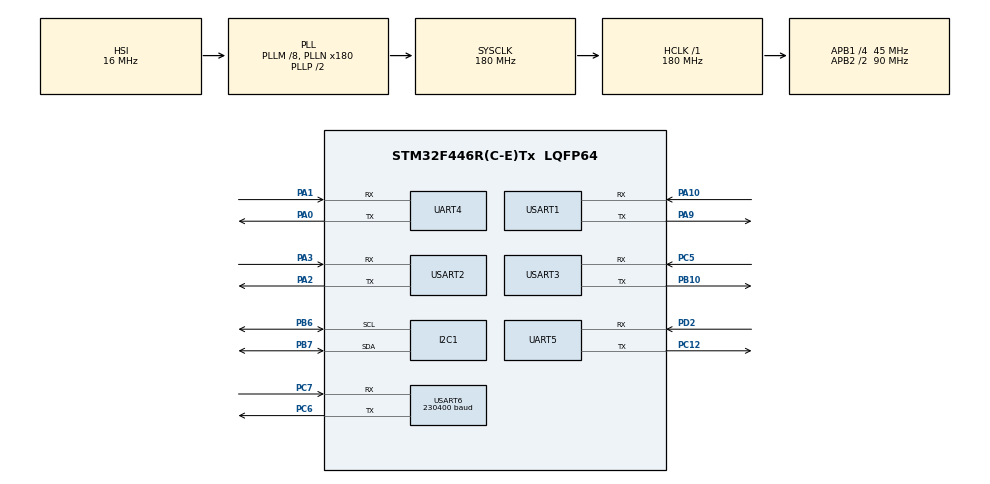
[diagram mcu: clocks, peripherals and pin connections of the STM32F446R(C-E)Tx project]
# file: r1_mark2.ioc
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I2C1.I2C_Mode=I2C_Fast
Mcu.Family=STM32F4
Mcu.Name=STM32F446R(C-E)Tx
Mcu.Package=LQFP64
NVIC.PriorityGroup=NVIC_PRIORITYGROUP_4
NVIC.USART3_IRQn=true\:0\:0\:false\:false\:true\:true\:true\:true
PA0-WKUP.Mode=Asynchronous
PA0-WKUP.Signal=UART4_TX
PA1.Mode=Asynchronous
PA1.Signal=UART4_RX
PA10.Mode=Asynchronous
PA10.Signal=USART1_RX
PA2.Mode=Asynchronous
PA2.Signal=USART2_TX
PA3.Mode=Asynchronous
PA3.Signal=USART2_RX
PA9.Mode=Asynchronous
PA9.Signal=USART1_TX
PB10.Mode=Asynchronous
PB10.Signal=USART3_TX
PB6.Mode=I2C
PB6.Signal=I2C1_SCL
PB7.Mode=I2C
PB7.Signal=I2C1_SDA
PC12.Mode=Asynchronous
PC12.Signal=UART5_TX
PC5.Mode=Asynchronous
PC5.Signal=USART3_RX
PC6.Mode=Asynchronous
PC6.Signal=USART6_TX
PC7.Mode=Asynchronous
PC7.Signal=USART6_RX
PD2.Mode=Asynchronous
PD2.Signal=UART5_RX
ProjectManager.HeapSize=0x200
ProjectManager.StackSize=0x400
ProjectManager.TargetToolchain=STM32CubeIDE
RCC.AHBFreq_Value=180000000
RCC.APB1CLKDivider=RCC_HCLK_DIV4
RCC.APB1Freq_Value=45000000
RCC.APB1TimFreq_Value=90000000
RCC.APB2CLKDivider=RCC_HCLK_DIV2
RCC.APB2Freq_Value=90000000
RCC.APB2TimFreq_Value=180000000
RCC.CortexFreq_Value=180000000
RCC.HCLKFreq_Value=180000000
RCC.PLLM=8
RCC.PLLN=180
RCC.SYSCLKFreq_VALUE=180000000
RCC.SYSCLKSource=RCC_SYSCLKSOURCE_PLLCLK
RCC.USBFreq_Value=180000000
RCC.VCOOutputFreq_Value=360000000
UART4.VirtualMode=Asynchronous
UART5.VirtualMode=Asynchronous
USART1.VirtualMode=VM_ASYNC
USART2.VirtualMode=VM_ASYNC
USART3.VirtualMode=VM_ASYNC
USART6.BaudRate=230400
USART6.VirtualMode=VM_ASYNC
board=custom

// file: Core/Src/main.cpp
/* USER CODE BEGIN Header */
/**
 ******************************************************************************
 * @file           : main.c
 * @brief          : Main program body
 ******************************************************************************
 * @attention
 *
 * Copyright (c) 2026 STMicroelectronics.
 * All rights reserved.
 *
 * This software is licensed under terms that can be found in the LICENSE file
 * in the root directory of this software component.
 * If no LICENSE file comes with this software, it is provided AS-IS.
 *
 ******************************************************************************
 */
/* USER CODE END Header */
#include "main.h"

/* USER CODE BEGIN Includes */
#include "stm32roboclaw.h"
#include "bno055_stm32.h"
#include<stdbool.h>
#include<stdio.h>
#include<string.h>
#include<math.h>
#include "hrishikesh.h"
/* USER CODE END Includes */

I2C_HandleTypeDef hi2c1;

UART_HandleTypeDef huart4;
UART_HandleTypeDef huart5;
UART_HandleTypeDef huart1;
UART_HandleTypeDef huart2;
UART_HandleTypeDef huart3;
UART_HandleTypeDef huart6;

void SystemClock_Config(void);
static void MX_GPIO_Init(void);
static void MX_I2C1_Init(void);
static void MX_UART4_Init(void);
static void MX_UART5_Init(void);
static void MX_USART1_UART_Init(void);
static void MX_USART2_UART_Init(void);
static void MX_USART3_UART_Init(void);
static void MX_USART6_UART_Init(void);

/* USER CODE BEGIN 0 */
int target=0;
float error= 0;
float preverror=0;
float P=9;
float I=0.0005;
float D=360;
float intg;

int16_t vFL, vFR, vBL, vBR;
int16_t vMAX = 0;
int16_t maxspeed = 32767;

int16_t PID(float angz){
	error=target-angz;
	intg += error*I;
	int16_t output = (error*P)+intg+((error-preverror)*D);
	if(output>100) output = 100;
	if(output<-100) output = -100;
	preverror=error;
	return output;
}

//long map(long x, long in_min, long in_max, long out_min, long out_max)
//{
//	return (x - in_min) * (out_max - out_min) / (in_max - in_min) + out_min;
//}

uint8_t rx_byte;
volatile uint8_t rx_count=0;
volatile bool ready= false;
volatile uint8_t idx=0;
uint8_t packet_buffer[11];

//data
int8_t LX;
int8_t LY;
int8_t RX;
int8_t RY;
uint8_t L2,R2;
uint16_t buttons;
uint16_t prev_buttons;
int mode=0,sign=0;

#define EVENT_QUEUE_SIZE 8
volatile uint16_t event_queue[8];
volatile uint8_t event_head =0;
volatile uint8_t event_tail =0;
volatile uint16_t prev_buttons_isr = 0;

#define NUM_BUTTONS 10
volatile uint8_t butt[NUM_BUTTONS] = {0};

static inline void enqueue_button_event(uint16_t pressed)
{
	uint8_t next = (event_head + 1) % EVENT_QUEUE_SIZE;

	if (next != event_tail) {   // queue not full
		event_queue[event_head] = pressed;
		event_head = next;
	}
}

bool check_packet(uint8_t *buf){
	if(buf[0]!=0xAA || buf[10]!=0x55) return false;
	uint8_t sum=0;
	for(int i=0;i<=8;i++) sum+=buf[i];
	return ((uint8_t)(0-sum)==buf[9]);
}

void HAL_UART_RxCpltCallback(UART_HandleTypeDef *huart)
{
	if (huart->Instance == USART3)
	{
		if (idx == 0)
		{
			if (rx_byte == 0xAA)
			{
				packet_buffer[idx++] = rx_byte;
			}
		}
		else
		{
			packet_buffer[idx++] = rx_byte;

			if (idx == 11)
			{
				if (check_packet(packet_buffer))
				{
					ready=true;
					//					LX = (int8_t)packet_buffer[1];
					//					LY = (int8_t)packet_buffer[2];
					//					RX = (int8_t)packet_buffer[3];
					//					RY = (int8_t)packet_buffer[4];
					//					R2 = packet_buffer[5];
					//					L2 = packet_buffer[6];

					uint16_t buttons =
							packet_buffer[7] |
							(packet_buffer[8] << 8);

					uint16_t pressed = buttons & ~prev_buttons;

					if (pressed)
						enqueue_button_event(pressed);

					prev_buttons = buttons;

					HAL_GPIO_TogglePin(GPIOA, GPIO_PIN_5);
				}

				idx = 0;
			}
		}

		HAL_UART_Receive_IT(&huart3, &rx_byte, 1);
	}
}

void process_packet(void){
	if(ready){
		uint8_t local_buf[11];
		__disable_irq();
		memcpy(local_buf, packet_buffer, 11);
		ready = false;
		__enable_irq();

		if(check_packet(local_buf)){
			LX = (int8_t)local_buf[1];
			LY = (int8_t)local_buf[2];
			RX = (int8_t)local_buf[3];
			RY = (int8_t)local_buf[4];
			R2 = local_buf[5];
			L2 = local_buf[6];
		}
	}
}

void process_button_events(void)
{
	while (event_tail != event_head) {

		uint16_t evt = event_queue[event_tail];
		event_tail = (event_tail + 1) % EVENT_QUEUE_SIZE;

		if(evt & (1 << 0)){
			//printf("Cross\r\n");
			if(mode==1){
				target+=(sign*180);
				P = 1;
				I = 0.0005;
				D = 360;
			}
		}

		if(evt & (1 << 1)){
			//printf("Circle\r\n");
			if(mode==1){
				target+=(sign*90);
				P = 2;
				I = 0.001;
				D = 1300;
			}

		}
		if(evt & (1 << 2)){
			//printf("Triangle\r\n");
			if(mode==1){
				target+=(sign*30);
				P = 2;
				I = 0.0009;
				D = 460;
			}

		}
		if(evt & (1 << 3)){
			//printf("Square\r\n");
			if(mode==1){
				target+=(sign*5);
				P = 9;
				I = 0.0005;
				D = 360;
			}

		}
		if(evt & (1 << 4)) printf("L1\r\n");
		if(evt & (1 << 5)) printf("R1\r\n");
		if(evt & (1 << 6)) printf("Up\r\n");
		if(evt & (1 << 7)) printf("Down\r\n");
		if(evt & (1 << 8)){
			//printf("Left\r\n");
			sign=-1;
		}
		if(evt & (1 << 9)){
			//printf("Right\r\n");
			sign=1;
		}
	}
}

void print_pots(void)
{
	printf("LX:%d  LY:%d  RX:%d  RY:%d  L2:%d  R2:%d\r\n", LX, LY, RX, RY, L2, R2);
}

stm32RoboClaw motor(&huart1,100);
stm32RoboClaw motor2(&huart6,100);

extern "C" int _write(int fd, char* ptr, int len) {
	HAL_StatusTypeDef hstatus;

	if (fd == 1 || fd == 2) {
		hstatus = HAL_UART_Transmit(&huart2, (uint8_t *) ptr, len, HAL_MAX_DELAY);
		if (hstatus == HAL_OK)
			return len;
		else
			return -1;
	}
	return -1;
}

void inv_kin(float x, float y, float z){
	x=x*0.5;
	y=y*0.5;
	z=-z;
	z = map(z, -100, 100, -50000, 50000); //maps value of output with range of speed of motors // 100
	x = map(x, -100, 100, -50000, 50000); //maps xj1 values to max speed of motors
	y = map(y, -100, 100, -50000, 50000); //maps yj1 values to max speed of motors

	//inverse kinematics equation for each motor
	vFL = -0.35*x - 0.35*y + 0.25*z;
	vFR = -0.35*x + 0.35*y + 0.25*z;
	vBL = 0.35*x - 0.35*y + 0.25*z;
	vBR = 0.35*x + 0.35*y + 0.25*z;

	vMAX = fmaxf(fmaxf(abs(vFL), abs(vBL)),fmaxf(abs(vFR), abs(vBR)));

	if (vMAX > maxspeed) {
		vFL = (vFL / vMAX) * maxspeed;
		vBL = (vBL / vMAX) * maxspeed;
		vFR = (vFR / vMAX) * maxspeed;
		vBR = (vBR / vMAX) * maxspeed;
	}

	vFL=constrain(vFL,-maxspeed,maxspeed);
	vFR=constrain(vFR,-maxspeed,maxspeed);
	vBL=constrain(vBL,-maxspeed,maxspeed);
	vBR=constrain(vBR,-maxspeed,maxspeed);

	motor.DutyM1(129, vFL);
	motor.DutyM2(129, vFR);
	motor2.DutyM1(130, vBR);
	motor2.DutyM2(130, vBL);
}

void motor_test(void){
	motor.DutyM1(129, 2000);	//fl
	motor.DutyM2(129, 2000);	//fr
	motor2.DutyM1(130, 2000);	//br
	motor2.DutyM2(130, 2000);	//bl
}

void PotDeadzone(){
	if(LX<20 && LX>-20) LX=0;
	if(LY<20 && LY>-20) LY=0;
	if(RX<20 && RX>-20) RX=0;
	if(RY<20 && RY>-20) RY=0;

}

void ModeSet(){
	if(RX> 75) mode=1;
	if(RX<-75) mode=2;
	if(RY> 75) mode=3;
	if(RY<-75) mode=4;
}

void FOD(float x){
	float pi= 3.14159;
	float angle = ((x*pi)/180);

	LX = (LY*sin(angle)) + (LX*cos(angle));
	LY = (LY*cos(angle)) -(LX*sin(angle));
}
/* USER CODE END 0 */

int main(void)
{

	/* USER CODE BEGIN 1 */
	motor.DutyM1(128, -0);
	motor.DutyM2(128, 0);
	motor2.DutyM1(130, 0);
	motor2.DutyM2(130, 0);
	/* USER CODE END 1 */

	/* MCU Configuration--------------------------------------------------------*/

	/* Reset of all peripherals, Initializes the Flash interface and the Systick. */
	HAL_Init();

	/* Configure the system clock */
	SystemClock_Config();

	/* Initialize all configured peripherals */
	MX_GPIO_Init();
	MX_I2C1_Init();
	MX_UART4_Init();
	MX_UART5_Init();
	MX_USART1_UART_Init();
	MX_USART2_UART_Init();
	MX_USART3_UART_Init();
	MX_USART6_UART_Init();
	/* USER CODE BEGIN 2 */
	printf("STM32 ready\r\n");

	HAL_NVIC_SetPriority(USART3_IRQn, 0, 0);
	HAL_NVIC_EnableIRQ(USART3_IRQn);
	HAL_UART_Receive_IT(&huart3, &rx_byte, 1);
	bno055_assignI2C(&hi2c1);
	bno055_setup();
	bno055_setOperationModeNDOF();
	/* USER CODE END 2 */

	/* Infinite loop */
	/* USER CODE BEGIN WHILE */
	while (1)
	{
		process_packet();
		process_button_events();
		PotDeadzone();
		ModeSet();
		float v = bno055_getHeadingContinuous();
		printf("%.2f\r\n", v);
		//print_pots();
		//motor_test();
		FOD(v);
		inv_kin(LX, LY, PID(v));
		//printf("Mode %d || Target %d\r\n",mode,target);
		/* USER CODE END WHILE */

	}
}

void SystemClock_Config(void)
{
	RCC_OscInitTypeDef RCC_OscInitStruct = {0};
	RCC_ClkInitTypeDef RCC_ClkInitStruct = {0};

	/** Configure the main internal regulator output voltage
	 */
	__HAL_RCC_PWR_CLK_ENABLE();
	__HAL_PWR_VOLTAGESCALING_CONFIG(PWR_REGULATOR_VOLTAGE_SCALE1);

	/** Initializes the RCC Oscillators according to the specified parameters
	 * in the RCC_OscInitTypeDef structure.
	 */
	RCC_OscInitStruct.OscillatorType = RCC_OSCILLATORTYPE_HSI;
	RCC_OscInitStruct.HSIState = RCC_HSI_ON;
	RCC_OscInitStruct.HSICalibrationValue = RCC_HSICALIBRATION_DEFAULT;
	RCC_OscInitStruct.PLL.PLLState = RCC_PLL_ON;
	RCC_OscInitStruct.PLL.PLLSource = RCC_PLLSOURCE_HSI;
	RCC_OscInitStruct.PLL.PLLM = 8;
	RCC_OscInitStruct.PLL.PLLN = 180;
	RCC_OscInitStruct.PLL.PLLP = RCC_PLLP_DIV2;
	RCC_OscInitStruct.PLL.PLLQ = 2;
	RCC_OscInitStruct.PLL.PLLR = 2;
	if (HAL_RCC_OscConfig(&RCC_OscInitStruct) != HAL_OK)
	{
		Error_Handler();
	}

	/** Activate the Over-Drive mode
	 */
	if (HAL_PWREx_EnableOverDrive() != HAL_OK)
	{
		Error_Handler();
	}

	/** Initializes the CPU, AHB and APB buses clocks
	 */
	RCC_ClkInitStruct.ClockType = RCC_CLOCKTYPE_HCLK|RCC_CLOCKTYPE_SYSCLK
			|RCC_CLOCKTYPE_PCLK1|RCC_CLOCKTYPE_PCLK2;
	RCC_ClkInitStruct.SYSCLKSource = RCC_SYSCLKSOURCE_PLLCLK;
	RCC_ClkInitStruct.AHBCLKDivider = RCC_SYSCLK_DIV1;
	RCC_ClkInitStruct.APB1CLKDivider = RCC_HCLK_DIV4;
	RCC_ClkInitStruct.APB2CLKDivider = RCC_HCLK_DIV2;

	if (HAL_RCC_ClockConfig(&RCC_ClkInitStruct, FLASH_LATENCY_5) != HAL_OK)
	{
		Error_Handler();
	}
}

static void MX_I2C1_Init(void)
{

	hi2c1.Instance = I2C1;
	hi2c1.Init.ClockSpeed = 400000;
	hi2c1.Init.DutyCycle = I2C_DUTYCYCLE_2;
	hi2c1.Init.OwnAddress1 = 0;
	hi2c1.Init.AddressingMode = I2C_ADDRESSINGMODE_7BIT;
	hi2c1.Init.DualAddressMode = I2C_DUALADDRESS_DISABLE;
	hi2c1.Init.OwnAddress2 = 0;
	hi2c1.Init.GeneralCallMode = I2C_GENERALCALL_DISABLE;
	hi2c1.Init.NoStretchMode = I2C_NOSTRETCH_DISABLE;
	if (HAL_I2C_Init(&hi2c1) != HAL_OK)
	{
		Error_Handler();
	}

}

static void MX_UART4_Init(void)
{

	huart4.Instance = UART4;
	huart4.Init.BaudRate = 115200;
	huart4.Init.WordLength = UART_WORDLENGTH_8B;
	huart4.Init.StopBits = UART_STOPBITS_1;
	huart4.Init.Parity = UART_PARITY_NONE;
	huart4.Init.Mode = UART_MODE_TX_RX;
	huart4.Init.HwFlowCtl = UART_HWCONTROL_NONE;
	huart4.Init.OverSampling = UART_OVERSAMPLING_16;
	if (HAL_UART_Init(&huart4) != HAL_OK)
	{
		Error_Handler();
	}

}

static void MX_UART5_Init(void)
{

	huart5.Instance = UART5;
	huart5.Init.BaudRate = 115200;
	huart5.Init.WordLength = UART_WORDLENGTH_8B;
	huart5.Init.StopBits = UART_STOPBITS_1;
	huart5.Init.Parity = UART_PARITY_NONE;
	huart5.Init.Mode = UART_MODE_TX_RX;
	huart5.Init.HwFlowCtl = UART_HWCONTROL_NONE;
	huart5.Init.OverSampling = UART_OVERSAMPLING_16;
	if (HAL_UART_Init(&huart5) != HAL_OK)
	{
		Error_Handler();
	}

}

static void MX_USART1_UART_Init(void)
{

	huart1.Instance = USART1;
	huart1.Init.BaudRate = 115200;
	huart1.Init.WordLength = UART_WORDLENGTH_8B;
	huart1.Init.StopBits = UART_STOPBITS_1;
	huart1.Init.Parity = UART_PARITY_NONE;
	huart1.Init.Mode = UART_MODE_TX_RX;
	huart1.Init.HwFlowCtl = UART_HWCONTROL_NONE;
	huart1.Init.OverSampling = UART_OVERSAMPLING_16;
	if (HAL_UART_Init(&huart1) != HAL_OK)
	{
		Error_Handler();
	}

}

static void MX_USART2_UART_Init(void)
{

	huart2.Instance = USART2;
	huart2.Init.BaudRate = 115200;
	huart2.Init.WordLength = UART_WORDLENGTH_8B;
	huart2.Init.StopBits = UART_STOPBITS_1;
	huart2.Init.Parity = UART_PARITY_NONE;
	huart2.Init.Mode = UART_MODE_TX_RX;
	huart2.Init.HwFlowCtl = UART_HWCONTROL_NONE;
	huart2.Init.OverSampling = UART_OVERSAMPLING_16;
	if (HAL_UART_Init(&huart2) != HAL_OK)
	{
		Error_Handler();
	}

}

static void MX_USART3_UART_Init(void)
{

	huart3.Instance = USART3;
	huart3.Init.BaudRate = 115200;
	huart3.Init.WordLength = UART_WORDLENGTH_8B;
	huart3.Init.StopBits = UART_STOPBITS_1;
	huart3.Init.Parity = UART_PARITY_NONE;
	huart3.Init.Mode = UART_MODE_TX_RX;
	huart3.Init.HwFlowCtl = UART_HWCONTROL_NONE;
	huart3.Init.OverSampling = UART_OVERSAMPLING_16;
	if (HAL_UART_Init(&huart3) != HAL_OK)
	{
		Error_Handler();
	}

}

static void MX_USART6_UART_Init(void)
{

	huart6.Instance = USART6;
	huart6.Init.BaudRate = 230400;
	huart6.Init.WordLength = UART_WORDLENGTH_8B;
	huart6.Init.StopBits = UART_STOPBITS_1;
	huart6.Init.Parity = UART_PARITY_NONE;
	huart6.Init.Mode = UART_MODE_TX_RX;
	huart6.Init.HwFlowCtl = UART_HWCONTROL_NONE;
	huart6.Init.OverSampling = UART_OVERSAMPLING_16;
	if (HAL_UART_Init(&huart6) != HAL_OK)
	{
		Error_Handler();
	}

}

static void MX_GPIO_Init(void)
{

	/* GPIO Ports Clock Enable */
	__HAL_RCC_GPIOA_CLK_ENABLE();
	__HAL_RCC_GPIOC_CLK_ENABLE();
	__HAL_RCC_GPIOB_CLK_ENABLE();
	__HAL_RCC_GPIOD_CLK_ENABLE();

}

void Error_Handler(void)
{
	__disable_irq();
	while (1)
	{
	}
}
